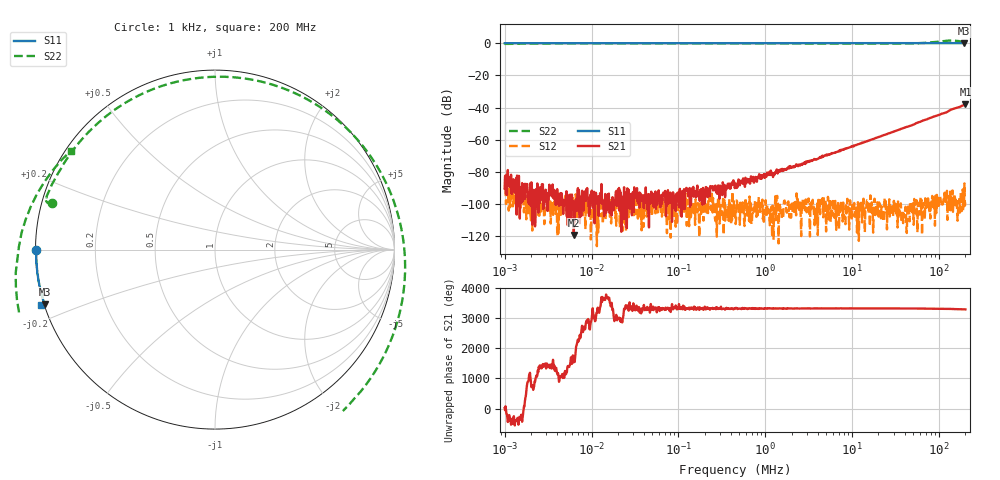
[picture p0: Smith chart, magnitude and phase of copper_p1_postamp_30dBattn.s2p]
! ListType=Log
# MHZ S RI R 50
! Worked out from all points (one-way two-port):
!   1000 points, 1 kHz to 200 MHz, reference 50 ohm
!   highest |S21| = -37.99 dB at 200 MHz (marker M1); lowest = -119.1 dB at 6.251 kHz (marker M2)
!   lowest |S11| = -0.1 dB at 192.8 MHz (marker M3), VSWR 322.77, Z = 0.159 - j7.85 ohm
!   |S11| at or under -10 dB: nowhere
!   |S22| runs from -0.5 to 1.7 dB; largest |S21 - S12| = 0.013
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0.001  -0.9947 -0.000491  2.93e-05 9.8e-06  -1.15e-05 -2.99e-05  -0.9089 0.26
0.006251  -0.9952 -0.000378  -1e-07 1.1e-06  -3e-06 -2e-07  -0.9415 0.2733
0.0076941  -0.9953 -0.000327  -9.5e-06 9.5e-06  -2.1e-06 8.4e-06  -0.9422 0.2759
0.0584804  -0.9952 -7.33e-05  -8.6e-06 1.86e-05  1.1e-06 -7.5e-06  -0.9406 0.2882
0.4499541  -0.9954 -0.000774  3.7e-06 3.58e-05  1.8e-06 7.1e-06  -0.9349 0.303
1.255742  -0.9954 -0.00194  1.46e-05 9.11e-05  6e-06 -3.4e-06  -0.923 0.3304
3.419952  -0.9956 -0.00558  2.8e-05 0.000228  -1.8e-06 -7.2e-06  -0.8867 0.4028
12.03851  -0.9956 -0.0195  8.21e-05 0.000741  -7.5e-06 -3e-07  -0.7122 0.6466
26.31347  -0.9954 -0.0425  0.00019 0.00158  3.6e-06 -3.5e-06  -0.3118 0.9064
39.38105  -0.9947 -0.0632  0.00037 0.00232  -1.9e-06 3.4e-06  0.1201 0.9587
52.80066  -0.9934 -0.0845  0.000445 0.00311  1.9e-06 -7e-06  0.5492 0.8169
67.41648  -0.9917 -0.1077  0.000913 0.004  2.4e-06 -9.8e-06  0.9034 0.4633
87.1363  -0.9884 -0.1385  0.00154 0.00506  4.8e-06 -4.1e-06  1.054 -0.2074
97.2649  -0.9862 -0.1544  0.00183 0.00552  -4e-07 -1.04e-05  0.9559 -0.561
108.5708  -0.9837 -0.1721  0.0023 0.0061  -1.06e-05 -4.1e-06  0.7122 -0.8994
122.6808  -0.979 -0.1935  0.00257 0.00676  -1.86e-05 -1.83e-05  0.2579 -1.156
135.278  -0.9749 -0.2133  0.00337 0.00786  -3.1e-06 -5.7e-06  -0.2103 -1.185
149.1688  -0.97 -0.2346  0.00441 0.00822  1.5e-06 -9.1e-06  -0.6843 -0.9897
164.4859  -0.9638 -0.2579  0.00523 0.00859  4.6e-06 -3.3e-06  -1.028 -0.5582
176.9973  -0.9581 -0.2775  0.00582 0.00916  2.35e-05 -6.2e-06  -1.11 -0.1278
192.8018  -0.946 -0.3045  0.00698 0.00977  1.13e-05 -8e-06  -0.9529 0.3738
200  -0.9689 -0.3067  0.00777 0.00992  -1.29e-05 -6.6e-06  -0.8026 0.5506
